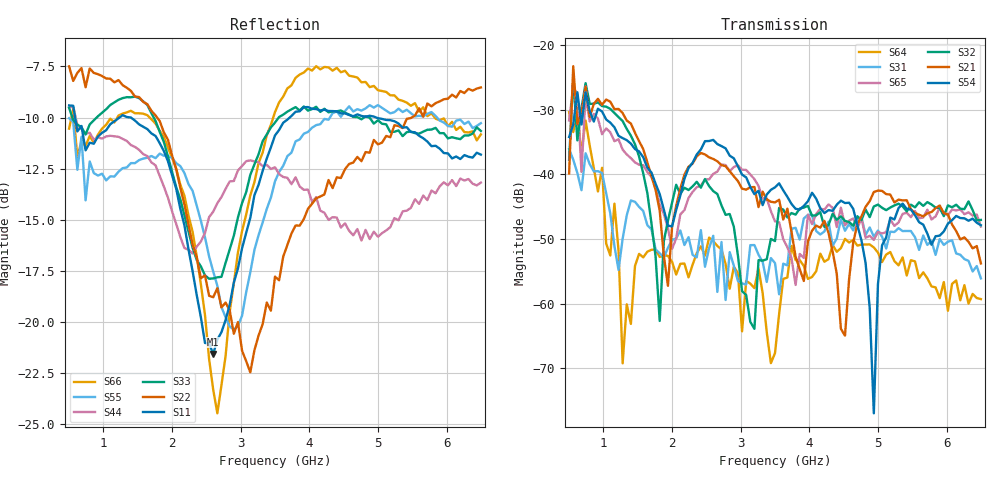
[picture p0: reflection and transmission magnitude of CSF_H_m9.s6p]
!Keysight Technologies,M9804A,MY58100912,A.14.10.03
!Date: Thursday, April 27, 2023 10:28:33
!Correction: S11(C  6-Port  )
!S12(C  6-Port  )
!S13(C  6-Port  )
!S14(C  6-Port  )
!S15(C  6-Port  )
!S16(C  6-Port  )
!S21(C  6-Port  )
!S22(C  6-Port  )
!S23(C  6-Port  )
!S24(C  6-Port  )
!S25(C  6-Port  )
!S26(C  6-Port  )
!S31(C  6-Port  )
!S32(C  6-Port  )
!S33(C  6-Port  )
!S34(C  6-Port  )
!S35(C  6-Port  )
!S36(C  6-Port  )
!S41(C  6-Port  )
!S42(C  6-Port  )
!S43(C  6-Port  )
!S44(C  6-Port  )
!S45(C  6-Port  )
!S46(C  6-Port  )
!S51(C  6-Port  )
!S52(C  6-Port  )
!S53(C  6-Port  )
!S54(C  6-Port  )
!S55(C  6-Port  )
!S56(C  6-Port  )
!S61(C  6-Port  )
!S62(C  6-Port  )
!S63(C  6-Port  )
!S64(C  6-Port  )
!S65(C  6-Port  )
!S66(C  6-Port  )
!S6P File: Measurement: :
# Hz S  RI  R 50
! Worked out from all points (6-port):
!   101 points, 500 MHz to 6.5 GHz, reference 50 ohm
!   strongest paths, dB at 500 MHz, 2 GHz, 3.5 GHz, 5 GHz, 6.5 GHz:
!     S54: -34.2, -48.0, -42.0, -57.0, -47.9
!     S21: -39.8, -48.1, -44.3, -42.5, -53.8
!     S32: -37.8, -44.4, -50.3, -44.7, -47.0
!     S65: -31.6, -51.5, -47.3, -48.9, -48.1
!     S31: -36.1, -50.1, -53.7, -48.7, -56.1
!     S64: -30.4, -53.5, -67.6, -52.1, -59.3
!   lowest |S11| = -21.6 dB at 2.6 GHz (marker M1), VSWR 1.18, Z = 42.6 + j2.04 ohm
!   |S11| at or under -10 dB: 587.4 MHz to 1.234 GHz (646.8 MHz wide, 71 % of centre); 1.399 GHz to 3.715 GHz (2.315 GHz wide, 90.5 % of centre); 4.974 GHz to end of sweep
